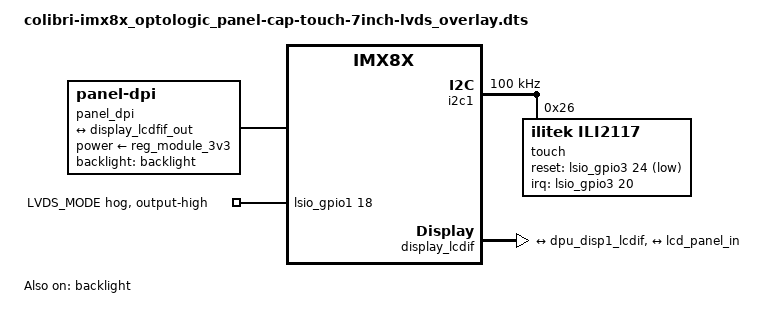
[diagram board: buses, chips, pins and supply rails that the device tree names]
// SPDX-License-Identifier: GPL-2.0-or-later OR MIT
/*
* Copyright 2025 OPTO logic technology S.A.
* Author: Enguerrand de Ribaucourt <enguerrand.de.ribaucourt@savoirfairelinux.com>
*/

// Enable the parallel RGB interface on the Colibri iMX8X which communicates
// through X1 SODIMM connector, with the LVDS transceiver on the Iris v2.0A
// connected with an OPTO Logic capacitive touch 7" LVDS display.

// Based on similar colibri-imx8x_panel-cap-touch-10inch-lvds_overlay.dts

#include <dt-bindings/gpio/gpio.h>
#include <dt-bindings/interrupt-controller/irq.h>

/dts-v1/;
/plugin/;

/ {
    compatible = "toradex,colibri-imx8x";
};

&backlight {
    // Polarity not inverted on our backlight
    pwms = <&adma_pwm 0 6666667 0>;
};

&i2c1 {
    status = "okay";
    #address-cells = <2>;
    #size-cells = <1>;
    clock-frequency = <100000>;

    touch@26 {
        compatible = "ilitek,ili2117";
        reg = <0x26>;
        pinctrl-names = "default";
        interrupt-parent = <&lsio_gpio3>;
        interrupts = <20 IRQ_TYPE_EDGE_RISING>;
        reset-gpios = <&lsio_gpio3 24 GPIO_ACTIVE_LOW>;
        status = "okay";
    };
};

// Enable the parallel RGB interface on Colibri iMX8X and the LVDS tranceiver on Iris v2.0
&{/} {
    panel_dpi: panel-dpi {
        compatible = "panel-dpi";
        backlight = <&backlight>;
        data-mapping = "bgr666";
        power-supply = <&reg_module_3v3>;

        port {
            lcd_panel_in: endpoint {
                remote-endpoint = <&display_lcdfif_out>;
            };
        };
    };
};

&adma_pwm {
    status = "okay";
};

&adma_pwm_lpcg {
    status = "okay";
};

&backlight {
    status = "okay";
};

&display_lcdif {
    #address-cells = <1>;
    #size-cells = <0>;
    status = "okay";

    port@0 {
        reg = <0>;

        lcd_display_in: endpoint {
            remote-endpoint = <&dpu_disp1_lcdif>;
        };
    };

    port@1 {
        reg = <1>;

        display_lcdfif_out: endpoint {
            remote-endpoint = <&lcd_panel_in>;
        };
    };
};

&dpu1 {
    #address-cells = <1>;
    #size-cells = <0>;

    port@1 {
        reg = <1>;
        #address-cells = <1>;
        #size-cells = <0>;

        dpu_disp1_lcdif: endpoint@3 {
            reg = <3>;
            remote-endpoint = <&lcd_display_in>;
        };
    };
};

/* Need to be disabled due to overlapped pins SODIMM_55, SODIMM_63 */
&flexcan2 {
    status = "disabled";
};

&lsio_gpio1 {
    /*
    * This switches the LVDS transceiver to the single-channel
    * output mode.
    */
    LVDS_MODE {
        gpio-hog;
        gpios = <18 GPIO_ACTIVE_HIGH>;
        output-high;
        line-name = "LVDS_MODE";
    };
};

#include "display-scx7.dtsi"
